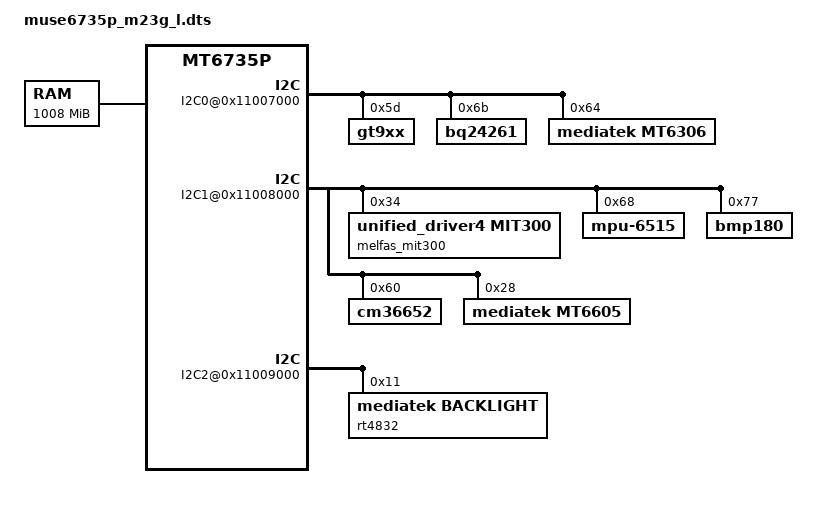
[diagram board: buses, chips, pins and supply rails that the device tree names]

/dts-v1/;

/include/ "mt6735p.dtsi"

/ {
  memory@00000000 {
		device_type = "memory";
		reg = <0 0x40000000 0 0x3F000000>;
	};

	bus {
		compatible = "simple-bus";
		#address-cells = <1>;
		#size-cells = <1>;
		ranges = <0 0 0 0xffffffff>;

		MTKFB@5e200000 {
			compatible = "mediatek,MTKFB";
			reg = <0x7F000000 0x1000000>;
		};

		I2C0@0x11007000 {
			gt9xx@5d {
				compatible = "gt9xx";
				reg = <0x5d>;
			};

			bq24261@6b {
				compatible = "bq24261";
				reg = <0x6b>;
			};

			mt6306@64 {
				compatible = "mediatek,mt6306";
				reg = <0x64>;
			};
		};

		I2C1@0x11008000 {
			melfas_mit300@34 {
				compatible = "unified_driver4,mit300";
				reg = <0x34>;
			};

			mpu-6515@68 {
				compatible = "mpu-6515";
				reg = <0x68>;
			};

			bmp180@77 {
				compatible = "bmp180";
				reg = <0x77>;
			};

			cm36652@60 {
				compatble = "cm36652";
				reg = <0x60>;
			};

			mt6605@28 {
				compatible = "mediatek,mt6605";
				reg = <0x28>;
			};
		};

		I2C2@0x11009000 {
			rt4832@11 {
				compatible = "mediatek,backlight";
				reg = <0x11>;
			};
		};
	};

	rt9536@0 {
		compatible = "richtek,rt9536";
		rt9536,en_set = <8>;
		rt9536,chgsb = <9>;
	};
};
